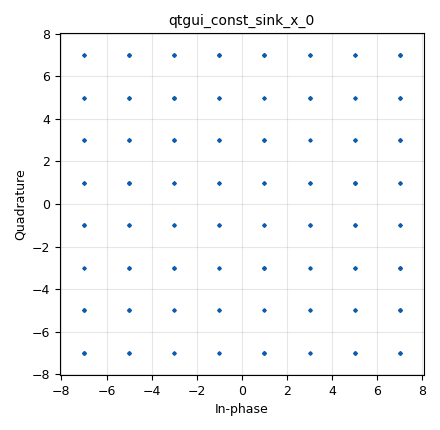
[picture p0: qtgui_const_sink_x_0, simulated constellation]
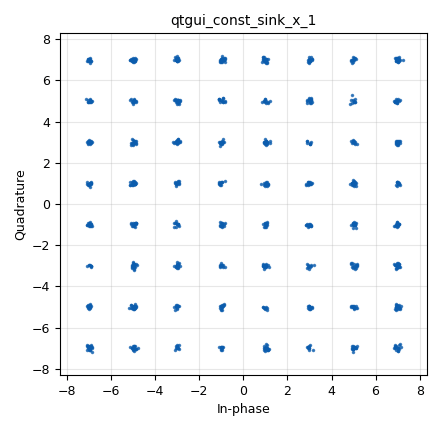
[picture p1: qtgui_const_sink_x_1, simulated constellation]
options:
  parameters:
    author: Akash Shaw | Ansul Jain
    generate_options: qt_gui
    id: Q2
    output_language: python
    title: Not titled yet
  states: {}

blocks:
- name: const
  id: variable_constellation
  parameters:
    precision: '8'
    type: 16qam
  states: {}
- name: samp_rate
  id: variable
  parameters:
    value: '32000'
  states: {}
- name: analog_random_source_x_0
  id: analog_random_source_x
  parameters:
    max: '64'
    min: '0'
    num_samps: '10000'
    repeat: 'True'
    type: int
  states: {}
- name: blocks_throttle2_0
  id: blocks_throttle2
  parameters:
    samples_per_second: samp_rate
    type: complex
  states: {}
- name: channels_channel_model_0
  id: channels_channel_model
  parameters:
    epsilon: '1'
    freq_offset: '0.0'
    noise_voltage: '0.1'
    seed: '0'
    taps: '1'
  states: {}
- name: digital_chunks_to_symbols_xx_0
  id: digital_chunks_to_symbols_xx
  parameters:
    dimension: '1'
    in_type: int
    out_type: complex
    symbol_table: |-
      [
       -7-7j, -7-5j, -7-3j, -7-1j, -7+7j, -7+5j, -7+3j, -7+1j,
       -5-7j, -5-5j, -5-3j, -5-1j, -5+7j, -5+5j, -5+3j, -5+1j,
       -3-7j, -3-5j, -3-3j, -3-1j, -3+7j, -3+5j, -3+3j, -3+1j,
       -1-7j, -1-5j, -1-3j, -1-1j, -1+7j, -1+5j, -1+3j, -1+1j,
        7-7j,  7-5j,  7-3j,  7-1j,  7+7j,  7+5j,  7+3j,  7+1j,
        5-7j,  5-5j,  5-3j,  5-1j,  5+7j,  5+5j,  5+3j,  5+1j,
        3-7j,  3-5j,  3-3j,  3-1j,  3+7j,  3+5j,  3+3j,  3+1j,
        1-7j,  1-5j,  1-3j,  1-1j,  1+7j,  1+5j,  1+3j,  1+1j
      ]
  states: {}
- name: qtgui_const_sink_x_0
  id: qtgui_const_sink_x
  parameters:
    autoscale: 'True'
    size: '1024'
    type: complex
  states: {}
- name: qtgui_const_sink_x_1
  id: qtgui_const_sink_x
  parameters:
    autoscale: 'True'
    size: '1024'
    type: complex
  states: {}

connections:
- [analog_random_source_x_0, '0', digital_chunks_to_symbols_xx_0, '0']
- [blocks_throttle2_0, '0', channels_channel_model_0, '0']
- [blocks_throttle2_0, '0', qtgui_const_sink_x_0, '0']
- [channels_channel_model_0, '0', qtgui_const_sink_x_1, '0']
- [digital_chunks_to_symbols_xx_0, '0', blocks_throttle2_0, '0']

metadata:
  file_format: 1
  grc_version: 3.10.12.0
